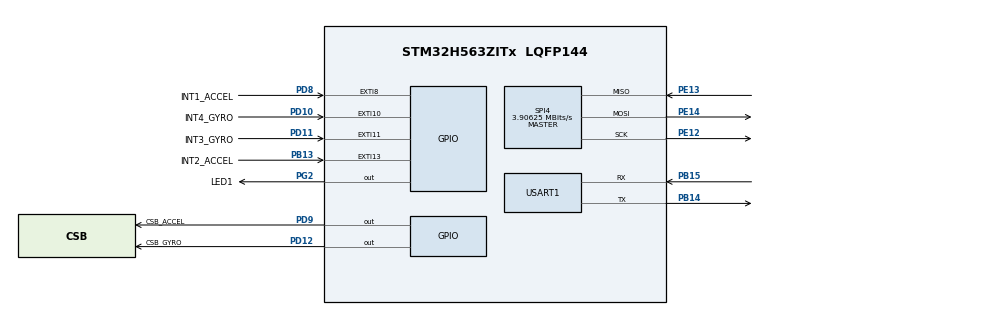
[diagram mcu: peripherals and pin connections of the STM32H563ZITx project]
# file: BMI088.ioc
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BOOTPATH.BootPathName=LEGACY
BOOTPATH.UserSelectedBootPath=LEGACY
CORTEX_M33_NS.userName=CORTEX_M33
Mcu.Family=STM32H5
Mcu.Name=STM32H563ZITx
Mcu.Package=LQFP144
NVIC.PriorityGroup=NVIC_PRIORITYGROUP_4
PA13(JTMS/SWDIO).Mode=Serial_Wire
PA13(JTMS/SWDIO).Signal=DEBUG_JTMS-SWDIO
PA14(JTCK/SWCLK).Mode=Serial_Wire
PA14(JTCK/SWCLK).Signal=DEBUG_JTCK-SWCLK
PB13.GPIO_Label=INT2_ACCEL
PB13.Signal=GPXTI13
PB14.Mode=Asynchronous
PB14.Signal=USART1_TX
PB15.Mode=Asynchronous
PB15.Signal=USART1_RX
PD10.GPIO_Label=INT4_GYRO
PD10.Signal=GPXTI10
PD11.GPIO_Label=INT3_GYRO
PD11.Signal=GPXTI11
PD12.GPIO_Label=CSB_GYRO
PD12.PinState=GPIO_PIN_SET
PD12.Signal=GPIO_Output
PD8.GPIO_Label=INT1_ACCEL
PD8.Signal=GPXTI8
PD9.GPIO_Label=CSB_ACCEL
PD9.PinState=GPIO_PIN_SET
PD9.Signal=GPIO_Output
PE12.Mode=Full_Duplex_Master
PE12.Signal=SPI4_SCK
PE13.Mode=Full_Duplex_Master
PE13.Signal=SPI4_MISO
PE14.Mode=Full_Duplex_Master
PE14.Signal=SPI4_MOSI
PG2.GPIO_Label=LED1
PG2.Signal=GPIO_Output
ProjectManager.HeapSize=0x200
ProjectManager.StackSize=0x400
ProjectManager.TargetToolchain=STM32CubeIDE
RCC.ADCFreq_Value=250000000
RCC.AHBFreq_Value=250000000
RCC.APB1Freq_Value=250000000
RCC.APB1TimFreq_Value=250000000
RCC.APB2Freq_Value=250000000
RCC.APB2TimFreq_Value=250000000
RCC.APB3Freq_Value=250000000
RCC.CSI_VALUE=4000000
RCC.CortexFreq_Value=250000000
RCC.EPOD_VALUE=4000000
RCC.HCLKFreq_Value=250000000
RCC.HSE_VALUE=25000000
RCC.HSI48_VALUE=48000000
RCC.HSI_VALUE=64000000
RCC.LSE_VALUE=32768
RCC.LSIRC_VALUE=32000
RCC.PLL2FRACN=0
RCC.PLL3FRACN=0
RCC.PLLFRACN=0
RCC.PLLN=125
RCC.SYSCLKFreq_VALUE=250000000
RCC.SYSCLKSource=RCC_SYSCLKSOURCE_PLLCLK
RCC.USBFreq_Value=48000000
RCC.VCOOutputFreq_Value=500000000
SPI4.BaudRatePrescaler=SPI_BAUDRATEPRESCALER_64
SPI4.CLKPhase=SPI_PHASE_1EDGE
SPI4.CLKPolarity=SPI_POLARITY_LOW
SPI4.CalculateBaudRate=3.90625 MBits/s
SPI4.DataSize=SPI_DATASIZE_8BIT
SPI4.Direction=SPI_DIRECTION_2LINES
SPI4.FirstBit=SPI_FIRSTBIT_MSB
SPI4.Mode=SPI_MODE_MASTER
SPI4.VirtualType=VM_MASTER
USART1.VirtualMode-Asynchronous=VM_ASYNC
VP_BOOTPATH_VS_BOOTPATH.Mode=BP_Activate
VP_CORTEX_M33_NS_VS_Hclk.Mode=Hclk_Mode
VP_MEMORYMAP_VS_MEMORYMAP.Mode=CurAppReg
VP_PWR_VS_DBSignals.Mode=DisableDeadBatterySignals
VP_PWR_VS_LPOM.Mode=PowerOptimisation
VP_PWR_VS_SECSignals.Mode=Security/Privilege
board=custom

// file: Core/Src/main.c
	/* USER CODE BEGIN Header */
	/**
	  ******************************************************************************
	  * @file           : main.c
	  * @brief          : Main program body
	  ******************************************************************************
	  * @attention
	  *
	  * Copyright (c) 2026 STMicroelectronics.
	  * All rights reserved.
	  *
	  * This software is licensed under terms that can be found in the LICENSE file
	  * in the root directory of this software component.
	  * If no LICENSE file comes with this software, it is provided AS-IS.
	  *
	  ******************************************************************************
	  */
	/* USER CODE END Header */
	/* Includes ------------------------------------------------------------------*/
	#include "main.h"

	/* Private includes ----------------------------------------------------------*/
	/* USER CODE BEGIN Includes */
	#include <stdio.h>
	#include <string.h>
	#include <math.h>
	#include "bmi088.h"
	/* USER CODE END Includes */

	/* Private typedef -----------------------------------------------------------*/

	/* Private define ------------------------------------------------------------*/

	/* Private macro -------------------------------------------------------------*/

	/* Private variables ---------------------------------------------------------*/

	SPI_HandleTypeDef hspi4;

	UART_HandleTypeDef huart1;

	/* USER CODE BEGIN PV */

	BMI088_t bmi088;
	BMI088_FloatData_t floatDataG;
	BMI088_FloatData_t floatDataA;
	uint8_t id_acc;
	uint8_t id_gyro;
	float global_z;
	float g_constant = 9.80665;
	/* USER CODE END PV */

	/* Private function prototypes -----------------------------------------------*/
	void SystemClock_Config(void);
	static void MX_GPIO_Init(void);
	static void MX_SPI4_Init(void);
	static void MX_USART1_UART_Init(void);

	/* Private user code ---------------------------------------------------------*/

	/**
	  * @brief  The application entry point.
	  * @retval int
	  */
	int main(void)
	{

	  /* MCU Configuration--------------------------------------------------------*/

	  /* Reset of all peripherals, Initializes the Flash interface and the Systick. */
	  HAL_Init();

	  /* Configure the system clock */
	  SystemClock_Config();

	  /* Initialize all configured peripherals */
	  MX_GPIO_Init();
	  MX_SPI4_Init();
	  MX_USART1_UART_Init();
	  /* USER CODE BEGIN 2 */
	  BMI088_InitAccel(&bmi088, &hspi4, CSB_ACCEL_GPIO_Port, CSB_ACCEL_Pin);
	  BMI088_InitGyro(&bmi088, &hspi4, CSB_GYRO_GPIO_Port, CSB_GYRO_Pin);

	  id_acc = BMI088_ReadChipID_Accel(&bmi088);
	  id_gyro = BMI088_ReadChipID_Gyro(&bmi088);

	  /* USER CODE END 2 */

	  /* Infinite loop */
	  /* USER CODE BEGIN WHILE */
	  while (1)
	  {
		  BMI088_ReadAccelXYZ_MG(&bmi088, &floatDataA);
		  BMI088_ReadGyroXYZ_DPS(&bmi088, &floatDataG);
		  global_z = sqrt(powf(floatDataA.x * g_constant, 2) + powf(floatDataA.y * g_constant, 2) + powf(floatDataA.z*g_constant, 2));
		  HAL_Delay(100);
		/* USER CODE END WHILE */

	  }
	}

	/**
	  * @brief System Clock Configuration
	  * @retval None
	  */
	void SystemClock_Config(void)
	{
	  RCC_OscInitTypeDef RCC_OscInitStruct = {0};
	  RCC_ClkInitTypeDef RCC_ClkInitStruct = {0};

	  /** Configure the main internal regulator output voltage
	  */
	  __HAL_PWR_VOLTAGESCALING_CONFIG(PWR_REGULATOR_VOLTAGE_SCALE0);

	  while(!__HAL_PWR_GET_FLAG(PWR_FLAG_VOSRDY)) {}

	  /** Initializes the RCC Oscillators according to the specified parameters
	  * in the RCC_OscInitTypeDef structure.
	  */
	  RCC_OscInitStruct.OscillatorType = RCC_OSCILLATORTYPE_CSI;
	  RCC_OscInitStruct.CSIState = RCC_CSI_ON;
	  RCC_OscInitStruct.CSICalibrationValue = RCC_CSICALIBRATION_DEFAULT;
	  RCC_OscInitStruct.PLL.PLLState = RCC_PLL_ON;
	  RCC_OscInitStruct.PLL.PLLSource = RCC_PLL1_SOURCE_CSI;
	  RCC_OscInitStruct.PLL.PLLM = 1;
	  RCC_OscInitStruct.PLL.PLLN = 125;
	  RCC_OscInitStruct.PLL.PLLP = 2;
	  RCC_OscInitStruct.PLL.PLLQ = 2;
	  RCC_OscInitStruct.PLL.PLLR = 2;
	  RCC_OscInitStruct.PLL.PLLRGE = RCC_PLL1_VCIRANGE_2;
	  RCC_OscInitStruct.PLL.PLLVCOSEL = RCC_PLL1_VCORANGE_WIDE;
	  RCC_OscInitStruct.PLL.PLLFRACN = 0;
	  if (HAL_RCC_OscConfig(&RCC_OscInitStruct) != HAL_OK)
	  {
		Error_Handler();
	  }

	  /** Initializes the CPU, AHB and APB buses clocks
	  */
	  RCC_ClkInitStruct.ClockType = RCC_CLOCKTYPE_HCLK|RCC_CLOCKTYPE_SYSCLK
								  |RCC_CLOCKTYPE_PCLK1|RCC_CLOCKTYPE_PCLK2
								  |RCC_CLOCKTYPE_PCLK3;
	  RCC_ClkInitStruct.SYSCLKSource = RCC_SYSCLKSOURCE_PLLCLK;
	  RCC_ClkInitStruct.AHBCLKDivider = RCC_SYSCLK_DIV1;
	  RCC_ClkInitStruct.APB1CLKDivider = RCC_HCLK_DIV1;
	  RCC_ClkInitStruct.APB2CLKDivider = RCC_HCLK_DIV1;
	  RCC_ClkInitStruct.APB3CLKDivider = RCC_HCLK_DIV1;

	  if (HAL_RCC_ClockConfig(&RCC_ClkInitStruct, FLASH_LATENCY_5) != HAL_OK)
	  {
		Error_Handler();
	  }

	  /** Configure the programming delay
	  */
	  __HAL_FLASH_SET_PROGRAM_DELAY(FLASH_PROGRAMMING_DELAY_2);
	}

	/**
	  * @brief SPI4 Initialization Function
	  * @param None
	  * @retval None
	  */
	static void MX_SPI4_Init(void)
	{

	  /* SPI4 parameter configuration*/
	  hspi4.Instance = SPI4;
	  hspi4.Init.Mode = SPI_MODE_MASTER;
	  hspi4.Init.Direction = SPI_DIRECTION_2LINES;
	  hspi4.Init.DataSize = SPI_DATASIZE_8BIT;
	  hspi4.Init.CLKPolarity = SPI_POLARITY_LOW;
	  hspi4.Init.CLKPhase = SPI_PHASE_1EDGE;
	  hspi4.Init.NSS = SPI_NSS_SOFT;
	  hspi4.Init.BaudRatePrescaler = SPI_BAUDRATEPRESCALER_64;
	  hspi4.Init.FirstBit = SPI_FIRSTBIT_MSB;
	  hspi4.Init.TIMode = SPI_TIMODE_DISABLE;
	  hspi4.Init.CRCCalculation = SPI_CRCCALCULATION_DISABLE;
	  hspi4.Init.CRCPolynomial = 0x7;
	  hspi4.Init.NSSPMode = SPI_NSS_PULSE_ENABLE;
	  hspi4.Init.NSSPolarity = SPI_NSS_POLARITY_LOW;
	  hspi4.Init.FifoThreshold = SPI_FIFO_THRESHOLD_01DATA;
	  hspi4.Init.MasterSSIdleness = SPI_MASTER_SS_IDLENESS_00CYCLE;
	  hspi4.Init.MasterInterDataIdleness = SPI_MASTER_INTERDATA_IDLENESS_00CYCLE;
	  hspi4.Init.MasterReceiverAutoSusp = SPI_MASTER_RX_AUTOSUSP_DISABLE;
	  hspi4.Init.MasterKeepIOState = SPI_MASTER_KEEP_IO_STATE_DISABLE;
	  hspi4.Init.IOSwap = SPI_IO_SWAP_DISABLE;
	  hspi4.Init.ReadyMasterManagement = SPI_RDY_MASTER_MANAGEMENT_INTERNALLY;
	  hspi4.Init.ReadyPolarity = SPI_RDY_POLARITY_HIGH;
	  if (HAL_SPI_Init(&hspi4) != HAL_OK)
	  {
		Error_Handler();
	  }

	}

	/**
	  * @brief USART1 Initialization Function
	  * @param None
	  * @retval None
	  */
	static void MX_USART1_UART_Init(void)
	{

	  huart1.Instance = USART1;
	  huart1.Init.BaudRate = 115200;
	  huart1.Init.WordLength = UART_WORDLENGTH_8B;
	  huart1.Init.StopBits = UART_STOPBITS_1;
	  huart1.Init.Parity = UART_PARITY_NONE;
	  huart1.Init.Mode = UART_MODE_TX_RX;
	  huart1.Init.HwFlowCtl = UART_HWCONTROL_NONE;
	  huart1.Init.OverSampling = UART_OVERSAMPLING_16;
	  huart1.Init.OneBitSampling = UART_ONE_BIT_SAMPLE_DISABLE;
	  huart1.Init.ClockPrescaler = UART_PRESCALER_DIV1;
	  huart1.AdvancedInit.AdvFeatureInit = UART_ADVFEATURE_NO_INIT;
	  if (HAL_UART_Init(&huart1) != HAL_OK)
	  {
		Error_Handler();
	  }
	  if (HAL_UARTEx_SetTxFifoThreshold(&huart1, UART_TXFIFO_THRESHOLD_1_8) != HAL_OK)
	  {
		Error_Handler();
	  }
	  if (HAL_UARTEx_SetRxFifoThreshold(&huart1, UART_RXFIFO_THRESHOLD_1_8) != HAL_OK)
	  {
		Error_Handler();
	  }
	  if (HAL_UARTEx_DisableFifoMode(&huart1) != HAL_OK)
	  {
		Error_Handler();
	  }

	}

	/**
	  * @brief GPIO Initialization Function
	  * @param None
	  * @retval None
	  */
	static void MX_GPIO_Init(void)
	{
	  GPIO_InitTypeDef GPIO_InitStruct = {0};

	  /* GPIO Ports Clock Enable */
	  __HAL_RCC_GPIOE_CLK_ENABLE();
	  __HAL_RCC_GPIOB_CLK_ENABLE();
	  __HAL_RCC_GPIOD_CLK_ENABLE();
	  __HAL_RCC_GPIOG_CLK_ENABLE();
	  __HAL_RCC_GPIOA_CLK_ENABLE();

	  /*Configure GPIO pin Output Level */
	  HAL_GPIO_WritePin(GPIOD, CSB_ACCEL_Pin|CSB_GYRO_Pin, GPIO_PIN_SET);

	  /*Configure GPIO pin Output Level */
	  HAL_GPIO_WritePin(LED1_GPIO_Port, LED1_Pin, GPIO_PIN_RESET);

	  /*Configure GPIO pin : INT2_ACCEL_Pin */
	  GPIO_InitStruct.Pin = INT2_ACCEL_Pin;
	  GPIO_InitStruct.Mode = GPIO_MODE_IT_RISING;
	  GPIO_InitStruct.Pull = GPIO_NOPULL;
	  HAL_GPIO_Init(INT2_ACCEL_GPIO_Port, &GPIO_InitStruct);

	  /*Configure GPIO pins : INT1_ACCEL_Pin INT4_GYRO_Pin INT3_GYRO_Pin */
	  GPIO_InitStruct.Pin = INT1_ACCEL_Pin|INT4_GYRO_Pin|INT3_GYRO_Pin;
	  GPIO_InitStruct.Mode = GPIO_MODE_IT_RISING;
	  GPIO_InitStruct.Pull = GPIO_NOPULL;
	  HAL_GPIO_Init(GPIOD, &GPIO_InitStruct);

	  /*Configure GPIO pins : CSB_ACCEL_Pin CSB_GYRO_Pin */
	  GPIO_InitStruct.Pin = CSB_ACCEL_Pin|CSB_GYRO_Pin;
	  GPIO_InitStruct.Mode = GPIO_MODE_OUTPUT_PP;
	  GPIO_InitStruct.Pull = GPIO_NOPULL;
	  GPIO_InitStruct.Speed = GPIO_SPEED_FREQ_LOW;
	  HAL_GPIO_Init(GPIOD, &GPIO_InitStruct);

	  /*Configure GPIO pin : LED1_Pin */
	  GPIO_InitStruct.Pin = LED1_Pin;
	  GPIO_InitStruct.Mode = GPIO_MODE_OUTPUT_PP;
	  GPIO_InitStruct.Pull = GPIO_NOPULL;
	  GPIO_InitStruct.Speed = GPIO_SPEED_FREQ_LOW;
	  HAL_GPIO_Init(LED1_GPIO_Port, &GPIO_InitStruct);

	}

	/**
	  * @brief  This function is executed in case of error occurrence.
	  * @retval None
	  */
	void Error_Handler(void)
	{
	  __disable_irq();
	  while (1)
	  {
	  }
	}

	#ifdef  USE_FULL_ASSERT
	/**
	  * @brief  Reports the name of the source file and the source line number
	  *         where the assert_param error has occurred.
	  * @param  file: pointer to the source file name
	  * @param  line: assert_param error line source number
	  * @retval None
	  */
	void assert_failed(uint8_t *file, uint32_t line)
	{
	}
	#endif /* USE_FULL_ASSERT */
